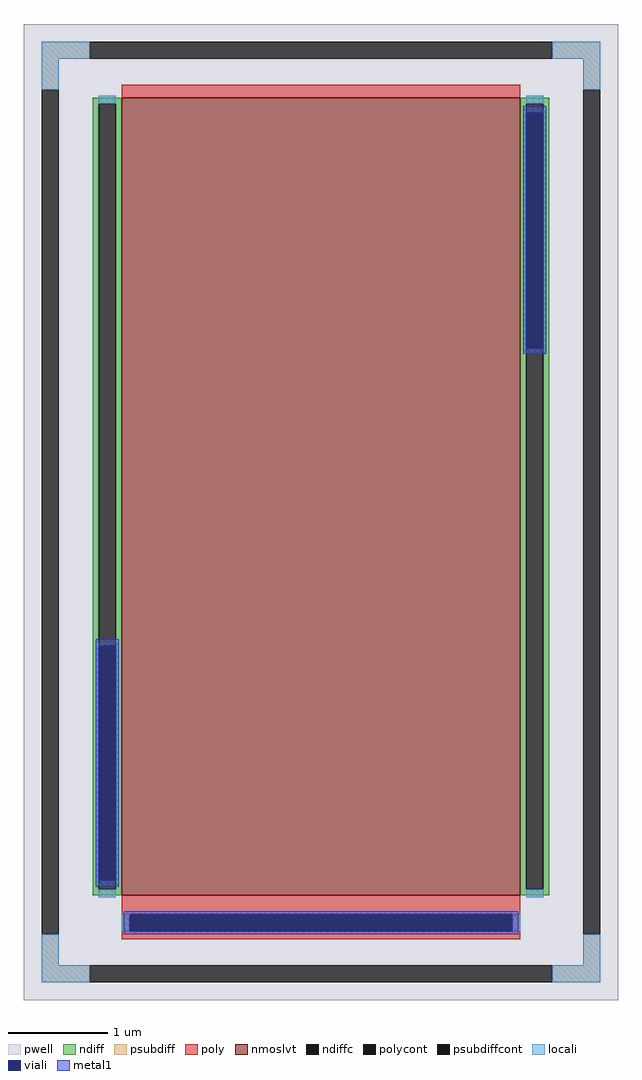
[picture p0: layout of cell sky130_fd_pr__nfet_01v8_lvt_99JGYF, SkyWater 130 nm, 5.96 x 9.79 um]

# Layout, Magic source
magic
tech sky130A
magscale 1 2
<< pwell >>
rect -596 -979 596 979
<< nmoslvt >>
rect -400 -769 400 831
<< ndiff >>
rect -458 819 -400 831
rect -458 -757 -446 819
rect -412 -757 -400 819
rect -458 -769 -400 -757
rect 400 819 458 831
rect 400 -757 412 819
rect 446 -757 458 819
rect 400 -769 458 -757
<< ndiffc >>
rect -446 -757 -412 819
rect 412 -757 446 819
<< psubdiff >>
rect -560 909 -464 943
rect 464 909 560 943
rect -560 847 -526 909
rect 526 847 560 909
rect -560 -909 -526 -847
rect 526 -909 560 -847
rect -560 -943 -464 -909
rect 464 -943 560 -909
<< psubdiffcont >>
rect -464 909 464 943
rect -560 -847 -526 847
rect 526 -847 560 847
rect -464 -943 464 -909
<< poly >>
rect -400 831 400 857
rect -400 -807 400 -769
rect -400 -841 -384 -807
rect 384 -841 400 -807
rect -400 -857 400 -841
<< polycont >>
rect -384 -841 384 -807
<< locali >>
rect -560 909 -464 943
rect 464 909 560 943
rect -560 847 -526 909
rect 526 847 560 909
rect -446 819 -412 835
rect -446 -773 -412 -757
rect 412 819 446 835
rect 412 -773 446 -757
rect -400 -841 -384 -807
rect 384 -841 400 -807
rect -560 -909 -526 -847
rect 526 -909 560 -847
rect -560 -943 -464 -909
rect 464 -943 560 -909
<< viali >>
rect -446 -740 -412 -267
rect 412 329 446 802
rect -384 -841 384 -807
<< metal1 >>
rect 406 802 452 814
rect 406 329 412 802
rect 446 329 452 802
rect 406 317 452 329
rect -452 -267 -406 -255
rect -452 -740 -446 -267
rect -412 -740 -406 -267
rect -452 -752 -406 -740
rect -396 -807 396 -801
rect -396 -841 -384 -807
rect 384 -841 396 -807
rect -396 -847 396 -841
<< properties >>
string FIXED_BBOX -543 -926 543 926
string gencell sky130_fd_pr__nfet_01v8_lvt
string library sky130
string parameters w 8 l 4 m 1 nf 1 diffcov 100 polycov 100 guard 1 glc 1 grc 1 gtc 1 gbc 1 tbcov 100 rlcov 100 topc 0 botc 1 poverlap 0 doverlap 1 lmin 0.15 wmin 0.42 compatible {sky130_fd_pr__nfet_01v8 sky130_fd_pr__nfet_01v8_lvt  sky130_fd_bs_flash__special_sonosfet_star  sky130_fd_pr__nfet_g5v0d10v5 sky130_fd_pr__nfet_05v0_nvt  sky130_fd_pr__nfet_03v3_nvt} full_metal 1 viasrc -30 viadrn +30 viagate 100 viagb 0 viagr 0 viagl 0 viagt 0
<< end >>
